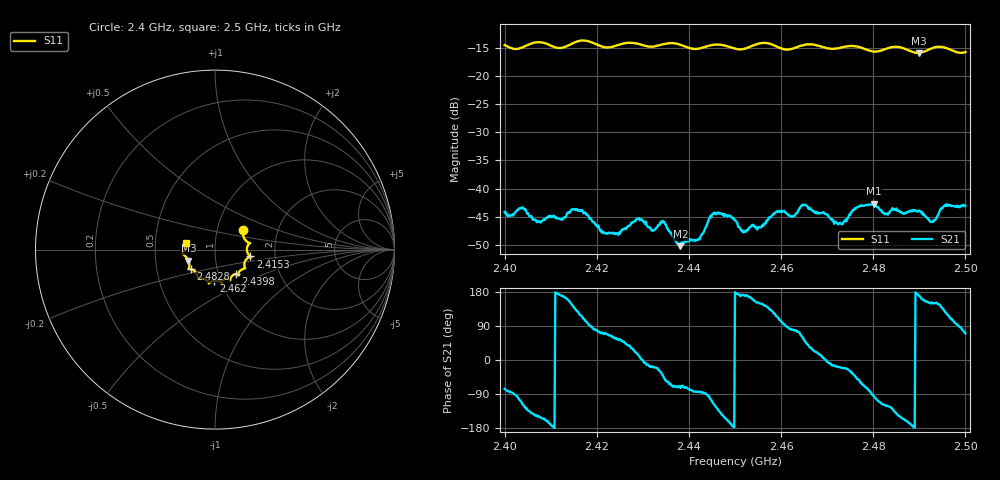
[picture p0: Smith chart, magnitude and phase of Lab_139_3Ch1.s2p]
# Hz S RI R 50
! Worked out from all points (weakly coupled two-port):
!   601 points, 2.4 GHz to 2.5 GHz, reference 50 ohm
!   highest |S21| = -42.69 dB at 2.4802 GHz (marker M1); lowest = -50.2 dB at 2.4382 GHz (marker M2)
!   lowest |S11| = -15.9 dB at 2.4898 GHz (marker M3), VSWR 1.38, Z = 36.8 - j4.64 ohm
!   |S11| at or under -10 dB: start of sweep to end of sweep
!   S12 and S22 are empty: the file has one direction only
!   S11 on the Smith chart (normalised r, x): 2.4 GHz: 1.33, +0.30; 2.4153 GHz: 1.48, -0.12; 2.4398 GHz: 1.21, -0.34; 2.462 GHz: 0.93, -0.33; 2.4828 GHz: 0.74, -0.17; 2.5 GHz: 0.72, +0.06
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2.4e9  0.1554 0.1071  0.0015 -0.00604  0 0  0 0
2.4075e9  0.1964 0.0376  -0.00437 -0.0027  0 0  0 0
2.415333e9  0.1963 -0.0384  -0.00448 0.00464  0 0  0 0
2.416667e9  0.2025 -0.0425  -0.00282 0.00572  0 0  0 0
2.421667e9  0.1702 -0.0601  0.00134 0.00378  0 0  0 0
2.429e9  0.1617 -0.106  0.00523 0.00128  0 0  0 0
2.433333e9  0.1305 -0.1336  0.00429 -0.00209  0 0  0 0
2.438167e9  0.1284 -0.1395  0.000872 -0.00296  0 0  0 0
2.439833e9  0.116 -0.1359  0.000871 -0.00347  0 0  0 0
2.4455e9  0.0846 -0.1701  -0.00289 -0.00541  0 0  0 0
2.45e9  0.065 -0.1627  -0.00526 8.18e-05  0 0  0 0
2.452e9  0.044 -0.1687  -0.00413 0.000715  0 0  0 0
2.462e9  -0.00481 -0.1729  0.000856 0.00562  0 0  0 0
2.466667e9  -0.0343 -0.1882  0.0056 0.00311  0 0  0 0
2.472833e9  -0.0788 -0.1602  0.00469 -0.00169  0 0  0 0
2.480167e9  -0.111 -0.1222  -0.000842 -0.00729  0 0  0 0
2.482833e9  -0.1364 -0.1095  -0.00311 -0.00509  0 0  0 0
2.483333e9  -0.1401 -0.1092  -0.00328 -0.00515  0 0  0 0
2.489833e9  -0.1483 -0.0614  -0.00626 0.00106  0 0  0 0
2.492833e9  -0.175 -0.0279  -0.0044 0.00247  0 0  0 0
2.4955e9  -0.1787 -0.0173  -0.00438 0.00555  0 0  0 0
2.5e9  -0.1589 0.0389  0.00236 0.00658  0 0  0 0
